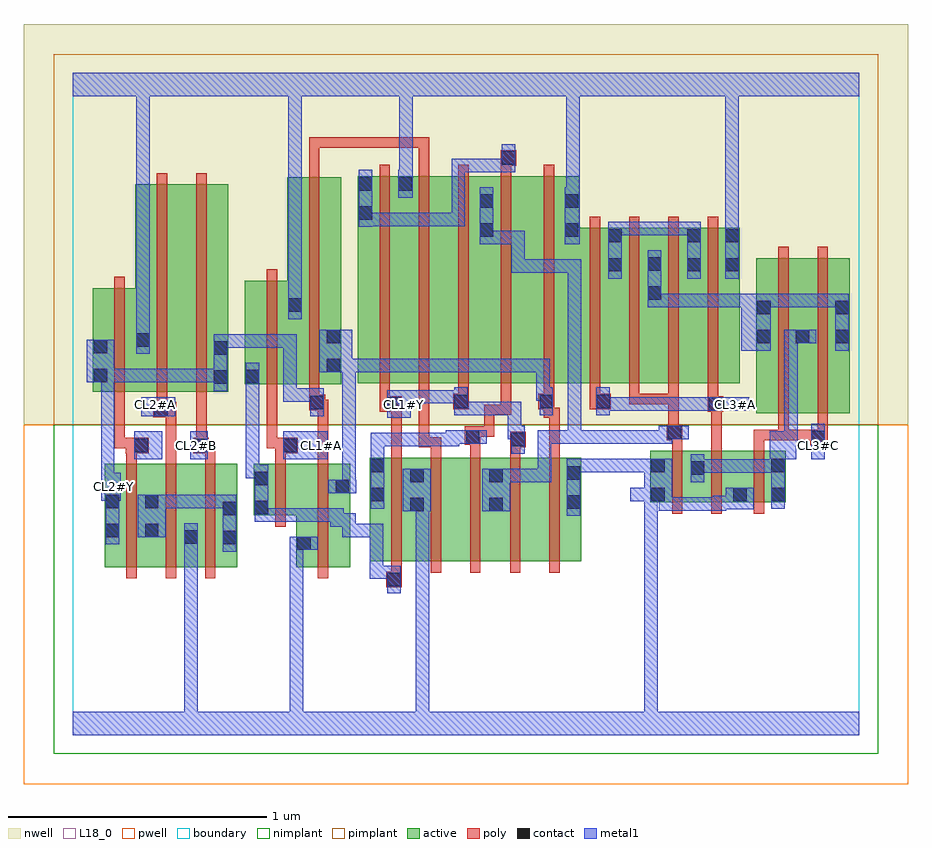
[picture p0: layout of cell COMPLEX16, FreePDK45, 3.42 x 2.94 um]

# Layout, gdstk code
import gdstk
lib = gdstk.Library(unit=1e-6, precision=1e-09)
def R(c, l, rs):  # rectangles x0, y0, x1, y1
    for r in rs: c.add(gdstk.rectangle(r[:2], r[2:], *l))
def A(c, l, x, y, w, h, nx, ny, dx, dy):  # array of equal rectangles
    R(c, l, [(x+i*dx, y+j*dy, x+i*dx+w, y+j*dy+h) for i in range(nx) for j in range(ny)])
active = (1, 0)
pwell = (2, 0)
nwell = (3, 0)
nimplant = (4, 0)
pimplant = (5, 0)
poly = (9, 0)
contact = (10, 0)
metal1 = (11, 0)
L18_0 = (18, 0)
boundary = (235, 0)

complex16 = lib.new_cell('COMPLEX16')
R(complex16, active, [(0.124,0.65,0.336,1.05), (0.276,0.65,0.488,1.05), (0.428,0.65,0.636,1.05), (0.428,0.65,0.488,0.796), (0.864,0.65,1.072,1.05), (1.148,0.672,1.208,1.072), (1.148,0.672,1.36,1.072), (1.3,0.672,1.36,1.072), (1.3,0.672,1.48,1.072), (1.48,0.672,1.666,1.072), (1.606,0.672,1.786,1.072), (1.786,0.672,1.966,1.072), (1.906,0.672,1.966,1.072), (0.864,0.712,0.924,0.956), (0.576,0.734,0.636,1.05), (0.124,0.756,0.184,1.05), (0.276,0.756,0.336,1.05), (1.012,0.756,1.072,1.05), (1.606,0.756,1.666,1.034), (0.7,0.85,0.76,1.05), (0.7,0.85,0.924,1.05), (2.232,0.9,2.292,1.1), (2.232,0.9,2.444,1.1), (2.384,0.9,2.608,1.1), (2.548,0.9,2.608,1.1), (2.548,0.9,2.756,1.1), (2.696,0.9,2.756,1.1), (2.384,0.956,2.444,1.062), (2.642,1.244,2.702,1.844), (2.642,1.244,2.85,1.844), (2.79,1.244,3.002,1.844), (2.942,1.244,3.002,1.844), (0.078,1.328,0.138,1.728), (0.078,1.328,0.302,1.728), (0.242,1.328,0.422,2.128), (0.422,1.328,0.602,2.128), (0.542,1.328,0.602,2.044), (0.666,1.356,0.726,1.756), (0.666,1.356,0.89,1.756), (0.83,1.356,0.89,2.156), (0.83,1.356,1.038,2.156), (0.978,1.356,1.038,2.044), (1.102,1.36,1.314,2.16), (1.102,1.36,1.162,2.16), (1.254,1.36,1.434,2.16), (1.434,1.36,1.63,2.16), (1.57,1.36,1.764,2.16), (1.764,1.36,1.958,2.16), (1.898,1.36,2.126,1.96), (2.066,1.36,2.126,1.96), (2.066,1.36,2.278,1.96), (2.218,1.36,2.43,1.96), (2.218,1.36,2.278,1.854), (2.37,1.36,2.578,1.96), (2.518,1.36,2.578,1.96), (1.57,1.392,1.63,2.122), (1.898,1.472,1.958,2.16), (2.37,1.472,2.43,1.96), (0.242,1.498,0.302,2.128), (2.79,1.51,2.85,1.844), (1.254,1.586,1.314,2.16)])
R(complex16, pwell, [(-0.188,-0.188,3.228,1.2)])
R(complex16, nwell, [(-0.188,1.2,3.228,2.748)])
R(complex16, nimplant, [(-0.072,-0.072,3.112,1.2)])
R(complex16, pimplant, [(-0.072,1.2,3.112,2.632)])
A(complex16, poly, 0.208, 0.606, 0.04, 0.488, 3, 1, 0.152, 0)
A(complex16, poly, 1.232, 0.628, 0.04, 0.488, 3, 1, 0.152, 0)
A(complex16, poly, 1.998, 1.28, 0.04, 0.076, 3, 1, 0.152, 0)
A(complex16, poly, 1.186, 1.316, 0.04, 0.888, 3, 1, 0.152, 0)
A(complex16, poly, 1.998, 1.316, 0.04, 0.688, 4, 1, 0.152, 0)
R(complex16, poly, [(1.212,0.572,1.272,0.632), (1.232,0.592,1.272,0.668), (0.948,0.606,0.988,1.094), (1.69,0.628,1.73,1.116), (1.842,0.628,1.882,1.116), (0.784,0.806,0.824,1.094), (2.316,0.856,2.356,1.144), (2.468,0.856,2.508,1.144), (2.632,0.856,2.672,1.144), (0.208,1.054,0.248,1.13), (0.36,1.054,0.4,1.268), (0.512,1.054,0.552,1.13), (0.784,1.054,0.824,1.13), (0.948,1.054,0.988,1.296), (1.232,1.076,1.272,1.29), (1.384,1.076,1.424,1.152), (1.536,1.076,1.576,1.162), (1.69,1.076,1.73,1.152), (1.842,1.076,1.882,1.266), (0.206,1.09,0.294,1.15), (0.466,1.09,0.526,1.15), (0.486,1.09,0.526,1.13), (0.486,1.09,0.552,1.13), (0.784,1.09,0.87,1.15), (2.316,1.104,2.356,1.18), (2.468,1.104,2.508,1.29), (2.632,1.104,2.672,1.18), (0.162,1.11,0.202,1.324), (0.162,1.11,0.246,1.15), (0.206,1.11,0.246,1.15), (0.478,1.11,0.518,1.324), (0.75,1.11,0.79,1.352), (0.75,1.11,0.824,1.15), (0.784,1.11,0.824,1.15), (1.338,1.112,1.378,1.152), (1.338,1.112,1.378,1.152), (1.338,1.112,1.378,1.356), (1.338,1.112,1.424,1.152), (1.69,1.112,1.75,1.172), (2.85,1.12,2.918,1.18), (1.516,1.122,1.576,1.194), (2.296,1.14,2.356,1.2), (2.632,1.14,2.766,1.18), (2.726,1.14,2.766,1.24), (2.726,1.14,2.89,1.18), (2.726,1.14,2.766,1.18), (2.726,1.14,2.766,1.18), (2.726,1.14,2.766,1.18), (2.726,1.14,2.766,1.18), (2.878,1.14,2.918,1.24), (1.536,1.154,1.63,1.194), (1.59,1.154,1.63,1.194), (1.59,1.154,1.63,1.278), (2.302,1.16,2.342,1.32), (2.726,1.2,2.766,1.888), (2.878,1.2,2.918,1.888), (1.82,1.226,1.86,1.3), (1.82,1.226,1.882,1.266), (0.312,1.228,0.4,1.288), (0.36,1.228,0.4,1.268), (0.36,1.228,0.4,1.268), (1.59,1.238,1.63,1.278), (1.59,1.238,1.694,1.278), (1.654,1.238,1.694,1.278), (1.654,1.238,1.694,1.356), (0.326,1.248,0.366,1.324), (1.186,1.25,1.272,1.31), (1.232,1.25,1.272,1.29), (1.232,1.25,1.272,1.29), (2.454,1.25,2.514,1.31), (2.468,1.25,2.508,1.29), (2.468,1.25,2.508,1.29), (0.914,1.256,0.976,1.316), (0.936,1.256,0.976,1.296), (0.936,1.256,0.988,1.296), (1.47,1.26,1.53,1.32), (1.8,1.26,1.86,1.32), (1.998,1.26,2.08,1.32), (1.186,1.27,1.226,1.356), (2.454,1.27,2.494,1.356), (0.914,1.276,0.954,1.352), (1.49,1.28,1.53,1.356), (1.82,1.28,1.86,1.356), (2.15,1.28,2.19,1.32), (2.15,1.28,2.342,1.32), (2.302,1.28,2.342,1.32), (2.302,1.28,2.342,1.32), (2.302,1.28,2.342,1.32), (0.162,1.284,0.202,1.772), (0.326,1.284,0.366,2.172), (0.478,1.284,0.518,2.172), (0.75,1.312,0.79,1.8), (0.914,1.312,0.954,2.2), (1.654,1.316,1.694,2.204), (1.82,1.316,1.86,2.204), (0.914,2.16,0.954,2.31), (1.338,2.164,1.378,2.31), (1.654,2.164,1.694,2.24), (1.654,2.2,1.714,2.26), (0.914,2.27,0.954,2.31), (0.914,2.27,1.12,2.31), (1.08,2.27,1.12,2.31), (1.08,2.27,1.12,2.31), (1.08,2.27,1.12,2.31), (1.08,2.27,1.272,2.31), (1.232,2.27,1.272,2.31), (1.232,2.27,1.272,2.31), (1.232,2.27,1.272,2.31), (1.232,2.27,1.378,2.31), (1.338,2.27,1.378,2.31)])
R(complex16, contact, [(1.216,0.576,1.268,0.628), (0.868,0.716,0.92,0.768), (0.58,0.738,0.632,0.79), (0.432,0.74,0.484,0.792), (0.128,0.766,0.18,0.818), (0.28,0.766,0.332,0.818), (0.58,0.85,0.632,0.902), (0.704,0.854,0.756,0.906), (1.304,0.866,1.356,0.918), (1.61,0.866,1.662,0.918), (1.91,0.876,1.962,0.928), (0.128,0.878,0.18,0.93), (0.28,0.878,0.332,0.93), (1.152,0.904,1.204,0.956), (2.236,0.904,2.288,0.956), (2.552,0.904,2.604,0.956), (2.7,0.904,2.752,0.956), (1.016,0.936,1.068,0.988), (0.704,0.966,0.756,1.018), (1.304,0.978,1.356,1.03), (1.61,0.978,1.662,1.03), (1.91,0.988,1.962,1.04), (2.388,1.006,2.44,1.058), (1.152,1.016,1.204,1.068), (2.236,1.016,2.288,1.068), (2.7,1.016,2.752,1.068), (0.238,1.094,0.29,1.146), (0.47,1.094,0.522,1.146), (0.814,1.094,0.866,1.146), (1.694,1.116,1.746,1.168), (2.854,1.124,2.906,1.176), (1.52,1.126,1.572,1.178), (2.3,1.144,2.352,1.196), (0.316,1.232,0.368,1.284), (1.216,1.254,1.268,1.306), (2.458,1.254,2.51,1.306), (0.918,1.26,0.97,1.312), (1.474,1.264,1.526,1.316), (1.804,1.264,1.856,1.316), (2.024,1.264,2.076,1.316), (0.546,1.358,0.598,1.41), (0.67,1.36,0.722,1.412), (0.082,1.364,0.134,1.416), (0.982,1.402,1.034,1.454), (0.546,1.47,0.598,1.522), (0.082,1.476,0.134,1.528), (0.246,1.502,0.298,1.554), (0.982,1.514,1.034,1.566), (2.646,1.514,2.698,1.566), (2.794,1.514,2.846,1.566), (2.946,1.514,2.998,1.566), (2.646,1.626,2.698,1.678), (2.946,1.626,2.998,1.678), (0.834,1.636,0.886,1.688), (2.222,1.682,2.274,1.734), (2.07,1.792,2.122,1.844), (2.374,1.792,2.426,1.844), (2.522,1.792,2.574,1.844), (2.222,1.794,2.274,1.846), (2.07,1.904,2.122,1.956), (2.374,1.904,2.426,1.956), (2.522,1.904,2.574,1.956), (1.574,1.926,1.626,1.978), (1.902,1.926,1.954,1.978), (1.106,1.992,1.158,2.044), (1.574,2.038,1.626,2.09), (1.902,2.038,1.954,2.09), (1.106,2.104,1.158,2.156), (1.258,2.104,1.31,2.156), (1.658,2.204,1.71,2.256)])
R(complex16, metal1, [(0,0,3.04,0.092), (0.432,0.04,0.484,0.092), (0.432,0.04,0.484,0.092), (0.432,0.04,0.484,0.764), (0.84,0.04,0.892,0.092), (0.84,0.04,0.892,0.092), (0.84,0.04,0.892,0.092), (0.84,0.04,0.892,0.092), (0.84,0.04,0.892,0.092), (0.84,0.04,0.892,0.092), (0.84,0.04,0.892,0.092), (0.84,0.04,0.892,0.092), (0.84,0.04,0.892,0.092), (0.84,0.04,0.892,0.092), (0.84,0.04,0.892,0.092), (0.84,0.04,0.892,0.092), (0.84,0.04,0.892,0.768), (1.326,0.04,1.378,0.092), (1.326,0.04,1.378,0.092), (1.326,0.04,1.378,0.092), (1.326,0.04,1.378,0.092), (1.326,0.04,1.378,0.092), (1.326,0.04,1.378,0.092), (1.326,0.04,1.378,0.092), (1.326,0.04,1.378,0.092), (1.326,0.04,1.378,0.092), (1.326,0.04,1.378,0.092), (1.326,0.04,1.378,0.092), (1.326,0.04,1.378,0.092), (1.326,0.04,1.378,0.918), (2.208,0.04,2.26,0.092), (2.208,0.04,2.26,0.092), (2.208,0.04,2.26,0.092), (2.208,0.04,2.26,0.092), (2.208,0.04,2.26,0.956), (1.216,0.548,1.268,0.656), (1.148,0.604,1.2,0.656), (1.148,0.604,1.2,0.656), (1.148,0.604,1.2,0.656), (1.148,0.604,1.268,0.656), (1.148,0.604,1.2,0.818), (0.58,0.71,0.632,0.93), (0.432,0.712,0.484,0.764), (0.432,0.712,0.484,0.764), (0.432,0.712,0.484,0.764), (0.432,0.712,0.484,0.764), (0.432,0.712,0.484,0.764), (0.432,0.712,0.484,0.764), (0.432,0.712,0.484,0.764), (0.432,0.712,0.484,0.764), (0.432,0.712,0.484,0.764), (0.432,0.712,0.484,0.764), (0.432,0.712,0.484,0.82), (0.84,0.716,0.948,0.768), (0.128,0.738,0.18,0.958), (0.252,0.766,0.36,0.93), (1.042,0.766,1.2,0.818), (1.042,0.766,1.094,0.858), (1.148,0.766,1.2,0.818), (0.996,0.806,1.094,0.858), (0.996,0.806,1.048,0.878), (0.704,0.826,0.756,0.878), (0.704,0.826,0.756,0.878), (0.704,0.826,0.756,1.046), (0.704,0.826,0.896,0.878), (0.844,0.826,0.896,0.878), (0.844,0.826,0.896,0.878), (0.844,0.826,0.896,0.878), (0.844,0.826,0.896,0.878), (0.844,0.826,0.896,0.878), (0.844,0.826,1.048,0.878), (1.91,0.848,1.962,1.068), (1.276,0.866,1.384,1.03), (1.582,0.866,1.69,1.03), (2.264,0.868,2.426,0.92), (2.264,0.868,2.316,0.956), (2.374,0.868,2.426,0.92), (2.374,0.868,2.526,0.92), (2.474,0.868,2.526,0.926), (2.474,0.874,2.576,0.926), (2.524,0.874,2.632,0.956), (1.152,0.876,1.204,1.096), (2.7,0.876,2.752,1.096), (0.308,0.878,0.36,0.93), (0.308,0.878,0.36,0.93), (0.308,0.878,0.488,0.93), (0.436,0.878,0.488,0.93), (0.436,0.878,0.488,0.93), (0.436,0.878,0.488,0.93), (0.436,0.878,0.632,0.93), (2.154,0.904,2.206,0.956), (2.154,0.904,2.26,0.956), (2.208,0.904,2.26,0.956), (2.208,0.904,2.26,0.956), (2.208,0.904,2.26,0.956), (2.208,0.904,2.26,0.956), (2.208,0.904,2.26,0.956), (2.208,0.904,2.26,0.956), (2.208,0.904,2.26,0.956), (2.208,0.904,2.26,0.956), (2.208,0.904,2.26,0.956), (2.208,0.904,2.26,0.956), (2.208,0.904,2.26,0.956), (2.208,0.904,2.26,0.956), (2.208,0.904,2.316,1.068), (2.264,0.904,2.316,0.956), (0.11,0.906,0.186,1.014), (0.128,0.906,0.18,0.958), (0.988,0.936,1.096,0.988), (1.042,0.936,1.094,1.454), (0.11,0.962,0.162,1.014), (0.11,0.962,0.162,1.014), (0.11,0.962,0.162,1.416), (1.638,0.978,1.71,1.03), (1.658,0.978,1.71,1.03), (1.658,0.978,1.85,1.03), (1.798,0.978,1.85,1.03), (1.798,0.978,1.85,1.178), (2.388,0.978,2.44,1.086), (0.67,0.994,0.722,1.046), (0.67,0.994,0.722,1.046), (0.67,0.994,0.722,1.384), (0.67,0.994,0.756,1.046), (0.704,0.994,0.756,1.046), (2.388,1.014,2.44,1.066), (2.388,1.014,2.44,1.066), (2.388,1.014,2.612,1.066), (2.56,1.014,2.612,1.066), (2.56,1.014,2.636,1.066), (2.584,1.014,2.636,1.066), (2.584,1.014,2.752,1.066), (2.7,1.014,2.752,1.066), (2.7,1.014,2.752,1.066), (1.91,1.016,2.076,1.068), (2.024,1.016,2.076,1.068), (2.024,1.016,2.076,1.068), (2.024,1.016,2.076,1.068), (2.024,1.016,2.206,1.068), (2.154,1.016,2.206,1.068), (2.154,1.016,2.26,1.068), (2.208,1.016,2.26,1.068), (2.208,1.016,2.26,1.068), (1.152,1.044,1.204,1.168), (2.7,1.044,2.752,1.118), (0.238,1.066,0.346,1.174), (0.454,1.066,0.522,1.174), (0.814,1.066,0.986,1.174), (2.694,1.066,2.796,1.174), (2.854,1.066,2.906,1.204), (1.694,1.088,1.746,1.196), (1.152,1.116,1.204,1.168), (1.152,1.116,1.306,1.168), (1.254,1.116,1.306,1.168), (1.254,1.116,1.314,1.168), (1.262,1.116,1.314,1.168), (1.262,1.116,1.416,1.168), (1.364,1.116,1.416,1.168), (1.364,1.116,1.494,1.168), (1.442,1.116,1.494,1.178), (2.744,1.122,2.796,1.174), (2.744,1.122,2.802,1.174), (2.75,1.122,2.802,1.566), (1.442,1.126,1.544,1.178), (1.492,1.126,1.6,1.178), (1.798,1.126,1.85,1.178), (1.798,1.126,1.966,1.178), (1.914,1.126,1.966,1.178), (1.914,1.126,1.966,1.178), (1.914,1.126,1.966,1.178), (1.914,1.126,1.966,1.178), (1.914,1.126,1.966,1.178), (1.914,1.126,2.096,1.178), (1.914,1.126,1.966,1.84), (2.044,1.126,2.096,1.178), (2.044,1.126,2.096,1.178), (2.044,1.126,2.096,1.178), (2.044,1.126,2.206,1.178), (2.154,1.126,2.206,1.178), (2.154,1.126,2.316,1.178), (2.264,1.126,2.316,1.196), (1.682,1.144,1.734,1.196), (1.682,1.144,1.746,1.196), (1.682,1.144,1.734,1.288), (2.264,1.144,2.324,1.196), (2.272,1.144,2.38,1.196), (1.216,1.226,1.306,1.334), (0.266,1.232,0.396,1.306), (0.918,1.232,0.97,1.34), (1.474,1.236,1.526,1.344), (1.474,1.236,1.734,1.288), (1.682,1.236,1.734,1.288), (1.804,1.236,1.856,1.344), (2.024,1.236,2.076,1.344), (2.024,1.254,2.076,1.306), (2.024,1.254,2.076,1.306), (2.024,1.254,2.206,1.306), (2.154,1.254,2.206,1.306), (2.154,1.254,2.316,1.306), (2.264,1.254,2.316,1.306), (2.264,1.254,2.316,1.306), (2.264,1.254,2.316,1.306), (2.264,1.254,2.464,1.306), (2.412,1.254,2.464,1.306), (2.412,1.254,2.482,1.306), (2.43,1.254,2.614,1.306), (1.254,1.282,1.314,1.334), (1.262,1.282,1.314,1.334), (1.262,1.282,1.416,1.334), (1.364,1.282,1.416,1.334), (1.364,1.282,1.486,1.334), (1.434,1.282,1.486,1.334), (1.434,1.282,1.526,1.334), (0.814,1.288,0.866,1.34), (0.814,1.288,0.866,1.55), (0.814,1.288,0.97,1.34), (1.792,1.292,1.844,1.344), (1.792,1.292,1.856,1.344), (1.792,1.292,1.844,1.454), (0.546,1.33,0.598,1.55), (0.67,1.332,0.722,1.44), (0.054,1.364,0.162,1.528), (0.11,1.364,0.162,1.416), (0.11,1.364,0.162,1.416), (0.11,1.364,0.374,1.416), (0.322,1.364,0.374,1.416), (0.322,1.364,0.374,1.416), (0.322,1.364,0.374,1.416), (0.322,1.364,0.488,1.416), (0.436,1.364,0.488,1.416), (0.436,1.364,0.488,1.416), (0.436,1.364,0.488,1.416), (0.436,1.364,0.598,1.416), (0.954,1.402,1.08,1.566), (1.028,1.402,1.08,1.454), (1.028,1.402,1.158,1.454), (1.028,1.402,1.094,1.454), (1.042,1.402,1.094,1.454), (1.042,1.402,1.094,1.454), (1.106,1.402,1.158,1.454), (1.106,1.402,1.268,1.454), (1.216,1.402,1.268,1.454), (1.216,1.402,1.314,1.454), (1.262,1.402,1.314,1.454), (1.262,1.402,1.416,1.454), (1.364,1.402,1.416,1.454), (1.364,1.402,1.424,1.454), (1.372,1.402,1.424,1.454), (1.372,1.402,1.526,1.454), (1.474,1.402,1.526,1.454), (1.474,1.402,1.71,1.454), (1.658,1.402,1.71,1.454), (1.658,1.402,1.71,1.454), (1.658,1.402,1.71,1.454), (1.658,1.402,1.844,1.454), (1.792,1.402,1.844,1.454), (0.246,1.474,0.298,1.582), (2.584,1.486,2.698,1.706), (2.946,1.486,2.998,1.706), (0.546,1.498,0.598,1.55), (0.546,1.498,0.598,1.55), (0.546,1.498,0.598,1.55), (0.546,1.498,0.598,1.55), (0.546,1.498,0.86,1.55), (0.808,1.498,0.86,1.55), (0.808,1.498,0.866,1.55), (0.814,1.498,0.866,1.55), (0.814,1.498,0.866,1.55), (0.814,1.498,0.866,1.55), (2.75,1.514,2.874,1.566), (0.246,1.53,0.298,1.582), (0.246,1.53,0.298,1.582), (0.246,1.53,0.298,1.582), (0.246,1.53,0.298,1.582), (0.246,1.53,0.298,2.52), (0.834,1.608,0.886,1.716), (2.222,1.654,2.274,1.874), (2.222,1.654,2.316,1.706), (2.264,1.654,2.316,1.706), (2.264,1.654,2.428,1.706), (2.376,1.654,2.428,1.706), (2.376,1.654,2.428,1.706), (2.376,1.654,2.428,1.706), (2.376,1.654,2.612,1.706), (2.56,1.654,2.612,1.706), (2.56,1.654,2.636,1.706), (2.584,1.654,2.636,1.706), (2.584,1.654,2.636,1.706), (2.584,1.654,2.722,1.706), (2.67,1.654,2.722,1.706), (2.67,1.654,2.888,1.706), (2.836,1.654,2.888,1.706), (2.836,1.654,2.998,1.706), (2.946,1.654,2.998,1.706), (2.946,1.654,2.998,1.706), (0.834,1.664,0.886,1.716), (0.834,1.664,0.886,1.716), (0.834,1.664,0.886,1.716), (0.834,1.664,0.886,1.716), (0.834,1.664,0.886,1.716), (0.834,1.664,0.886,1.716), (0.834,1.664,0.886,2.52), (2.07,1.764,2.122,1.984), (2.374,1.764,2.426,1.984), (2.522,1.764,2.574,1.984), (1.694,1.788,1.844,1.84), (1.694,1.788,1.746,1.95), (1.792,1.788,1.844,1.84), (1.792,1.788,1.966,1.84), (1.914,1.788,1.966,1.84), (1.914,1.788,1.966,1.84), (1.914,1.788,1.966,1.84), (1.914,1.788,1.966,1.84), (1.914,1.788,1.966,1.84), (1.574,1.898,1.626,2.118), (1.574,1.898,1.746,1.95), (1.902,1.898,1.96,2.118), (2.07,1.932,2.206,1.984), (2.154,1.932,2.206,1.984), (2.154,1.932,2.26,1.984), (2.208,1.932,2.26,1.984), (2.208,1.932,2.318,1.984), (2.266,1.932,2.318,1.984), (2.266,1.932,2.426,1.984), (2.522,1.932,2.574,2.52), (1.106,1.964,1.158,2.184), (1.106,1.966,1.206,2.018), (1.154,1.966,1.206,2.018), (1.154,1.966,1.314,2.018), (1.262,1.966,1.314,2.018), (1.262,1.966,1.416,2.018), (1.364,1.966,1.416,2.018), (1.364,1.966,1.516,2.018), (1.464,1.966,1.516,2.018), (1.464,1.966,1.516,2.228), (1.908,2.066,1.96,2.118), (1.908,2.066,1.96,2.118), (1.908,2.066,1.96,2.52), (1.258,2.076,1.314,2.184), (1.262,2.132,1.314,2.52), (1.464,2.176,1.516,2.228), (1.464,2.176,1.6,2.228), (1.548,2.176,1.6,2.228), (1.548,2.176,1.71,2.228), (1.658,2.176,1.71,2.228), (1.658,2.176,1.71,2.228), (1.658,2.176,1.71,2.228), (1.658,2.176,1.71,2.228), (1.658,2.176,1.71,2.284), (0,2.468,3.04,2.56), (0.246,2.468,0.298,2.52), (0.246,2.468,0.298,2.52), (0.246,2.468,0.298,2.52), (0.246,2.468,0.298,2.52), (0.834,2.468,0.886,2.52), (0.834,2.468,0.886,2.52), (1.262,2.468,1.314,2.52), (1.262,2.468,1.314,2.52), (1.262,2.468,1.314,2.52), (1.262,2.468,1.314,2.52), (1.262,2.468,1.314,2.52), (1.262,2.468,1.314,2.52), (1.262,2.468,1.314,2.52), (1.262,2.468,1.314,2.52), (1.908,2.468,1.96,2.52), (1.908,2.468,1.96,2.52), (1.908,2.468,1.96,2.52), (1.908,2.468,1.96,2.52), (1.908,2.468,1.96,2.52), (1.908,2.468,1.96,2.52), (2.522,2.468,2.574,2.52), (2.522,2.468,2.574,2.52), (2.522,2.468,2.574,2.52), (2.522,2.468,2.574,2.52), (2.522,2.468,2.574,2.52), (2.522,2.468,2.574,2.52), (2.522,2.468,2.574,2.52), (2.522,2.468,2.574,2.52), (2.522,2.468,2.574,2.52), (2.522,2.468,2.574,2.52), (2.522,2.468,2.574,2.52), (2.522,2.468,2.574,2.52)])
R(complex16, L18_0, [(0,0,3.04,0.092), (0.432,0.04,0.484,0.092), (0.432,0.04,0.484,0.092), (0.432,0.04,0.484,0.764), (0.84,0.04,0.892,0.092), (0.84,0.04,0.892,0.092), (0.84,0.04,0.892,0.092), (0.84,0.04,0.892,0.092), (0.84,0.04,0.892,0.092), (0.84,0.04,0.892,0.092), (0.84,0.04,0.892,0.092), (0.84,0.04,0.892,0.092), (0.84,0.04,0.892,0.092), (0.84,0.04,0.892,0.092), (0.84,0.04,0.892,0.092), (0.84,0.04,0.892,0.092), (0.84,0.04,0.892,0.768), (1.326,0.04,1.378,0.092), (1.326,0.04,1.378,0.092), (1.326,0.04,1.378,0.092), (1.326,0.04,1.378,0.092), (1.326,0.04,1.378,0.092), (1.326,0.04,1.378,0.092), (1.326,0.04,1.378,0.092), (1.326,0.04,1.378,0.092), (1.326,0.04,1.378,0.092), (1.326,0.04,1.378,0.092), (1.326,0.04,1.378,0.092), (1.326,0.04,1.378,0.092), (1.326,0.04,1.378,0.918), (2.208,0.04,2.26,0.092), (2.208,0.04,2.26,0.092), (2.208,0.04,2.26,0.092), (2.208,0.04,2.26,0.092), (2.208,0.04,2.26,0.956), (1.216,0.548,1.268,0.656), (1.148,0.604,1.2,0.656), (1.148,0.604,1.2,0.656), (1.148,0.604,1.2,0.656), (1.148,0.604,1.2,0.818), (1.148,0.604,1.268,0.656), (0.432,0.712,0.484,0.764), (0.432,0.712,0.484,0.764), (0.432,0.712,0.484,0.764), (0.432,0.712,0.484,0.764), (0.432,0.712,0.484,0.764), (0.432,0.712,0.484,0.764), (0.432,0.712,0.484,0.764), (0.432,0.712,0.484,0.764), (0.432,0.712,0.484,0.764), (0.432,0.712,0.484,0.764), (0.432,0.712,0.484,0.82), (0.84,0.716,0.948,0.768), (0.128,0.738,0.18,0.958), (1.042,0.766,1.094,0.858), (1.042,0.766,1.2,0.818), (1.148,0.766,1.2,0.818), (0.996,0.806,1.048,0.878), (0.996,0.806,1.094,0.858), (0.704,0.826,0.756,1.046), (0.704,0.826,0.756,0.878), (0.704,0.826,0.756,0.878), (0.704,0.826,0.896,0.878), (0.844,0.826,0.896,0.878), (0.844,0.826,0.896,0.878), (0.844,0.826,0.896,0.878), (0.844,0.826,0.896,0.878), (0.844,0.826,0.896,0.878), (0.844,0.826,1.048,0.878), (1.91,0.848,1.962,1.068), (1.276,0.866,1.384,1.03), (2.264,0.868,2.426,0.92), (2.264,0.868,2.316,0.956), (2.374,0.868,2.426,0.92), (2.374,0.868,2.526,0.92), (2.474,0.868,2.526,0.926), (2.474,0.874,2.576,0.926), (2.524,0.874,2.632,0.956), (2.7,0.876,2.752,1.096), (2.154,0.904,2.206,0.956), (2.154,0.904,2.26,0.956), (2.208,0.904,2.26,0.956), (2.208,0.904,2.26,0.956), (2.208,0.904,2.26,0.956), (2.208,0.904,2.26,0.956), (2.208,0.904,2.26,0.956), (2.208,0.904,2.26,0.956), (2.208,0.904,2.26,0.956), (2.208,0.904,2.26,0.956), (2.208,0.904,2.26,0.956), (2.208,0.904,2.26,0.956), (2.208,0.904,2.26,0.956), (2.208,0.904,2.26,0.956), (2.208,0.904,2.316,1.068), (2.264,0.904,2.316,0.956), (0.11,0.906,0.186,1.014), (0.128,0.906,0.18,0.958), (0.134,0.934,0.186,0.986), (0.11,0.962,0.162,1.014), (0.11,0.962,0.162,1.014), (0.11,0.962,0.162,1.416), (2.388,0.978,2.44,1.086), (0.67,0.994,0.722,1.046), (0.67,0.994,0.722,1.046), (0.67,0.994,0.756,1.046), (0.67,0.994,0.722,1.384), (0.704,0.994,0.756,1.046), (2.388,1.014,2.44,1.066), (2.388,1.014,2.44,1.066), (2.388,1.014,2.612,1.066), (2.56,1.014,2.612,1.066), (2.56,1.014,2.636,1.066), (2.584,1.014,2.636,1.066), (2.584,1.014,2.752,1.066), (2.7,1.014,2.752,1.066), (2.7,1.014,2.752,1.066), (1.91,1.016,2.076,1.068), (2.024,1.016,2.076,1.068), (2.024,1.016,2.076,1.068), (2.024,1.016,2.076,1.068), (2.024,1.016,2.206,1.068), (2.154,1.016,2.206,1.068), (2.154,1.016,2.26,1.068), (2.208,1.016,2.26,1.068), (2.208,1.016,2.26,1.068), (2.7,1.044,2.752,1.118), (0.238,1.066,0.346,1.174), (0.454,1.066,0.522,1.174), (0.814,1.066,0.986,1.174), (2.694,1.066,2.796,1.174), (2.854,1.066,2.906,1.204), (1.694,1.088,1.746,1.196), (0.294,1.094,0.346,1.146), (0.454,1.094,0.506,1.146), (0.934,1.094,0.986,1.146), (2.694,1.094,2.746,1.146), (2.854,1.094,2.906,1.146), (2.744,1.122,2.796,1.174), (2.744,1.122,2.802,1.174), (2.75,1.122,2.802,1.566), (1.682,1.144,1.734,1.196), (1.682,1.144,1.734,1.288), (1.682,1.144,1.746,1.196), (1.216,1.226,1.306,1.334), (0.266,1.232,0.396,1.306), (0.918,1.232,0.97,1.34), (1.474,1.236,1.526,1.344), (1.474,1.236,1.734,1.288), (1.682,1.236,1.734,1.288), (2.024,1.236,2.076,1.344), (0.294,1.254,0.346,1.306), (1.254,1.254,1.306,1.306), (2.024,1.254,2.076,1.306), (2.024,1.254,2.076,1.306), (2.024,1.254,2.206,1.306), (2.154,1.254,2.206,1.306), (2.154,1.254,2.316,1.306), (2.264,1.254,2.316,1.306), (2.264,1.254,2.316,1.306), (2.264,1.254,2.316,1.306), (2.264,1.254,2.464,1.306), (2.412,1.254,2.464,1.306), (2.412,1.254,2.482,1.306), (2.43,1.254,2.614,1.306), (2.534,1.254,2.586,1.306), (1.254,1.282,1.314,1.334), (1.262,1.282,1.314,1.334), (1.262,1.282,1.416,1.334), (1.364,1.282,1.416,1.334), (1.364,1.282,1.486,1.334), (1.434,1.282,1.486,1.334), (1.434,1.282,1.526,1.334), (0.814,1.288,0.866,1.34), (0.814,1.288,0.866,1.55), (0.814,1.288,0.97,1.34), (0.546,1.33,0.598,1.55), (0.67,1.332,0.722,1.44), (0.054,1.364,0.162,1.528), (0.11,1.364,0.162,1.416), (0.11,1.364,0.162,1.416), (0.11,1.364,0.374,1.416), (0.322,1.364,0.374,1.416), (0.322,1.364,0.374,1.416), (0.322,1.364,0.374,1.416), (0.322,1.364,0.488,1.416), (0.436,1.364,0.488,1.416), (0.436,1.364,0.488,1.416), (0.436,1.364,0.488,1.416), (0.436,1.364,0.598,1.416), (0.246,1.474,0.298,1.582), (0.546,1.498,0.598,1.55), (0.546,1.498,0.598,1.55), (0.546,1.498,0.598,1.55), (0.546,1.498,0.598,1.55), (0.546,1.498,0.86,1.55), (0.808,1.498,0.86,1.55), (0.808,1.498,0.866,1.55), (0.814,1.498,0.866,1.55), (0.814,1.498,0.866,1.55), (0.814,1.498,0.866,1.55), (2.75,1.514,2.874,1.566), (0.246,1.53,0.298,1.582), (0.246,1.53,0.298,1.582), (0.246,1.53,0.298,1.582), (0.246,1.53,0.298,1.582), (0.246,1.53,0.298,2.52), (0.834,1.608,0.886,1.716), (0.834,1.664,0.886,1.716), (0.834,1.664,0.886,1.716), (0.834,1.664,0.886,1.716), (0.834,1.664,0.886,1.716), (0.834,1.664,0.886,1.716), (0.834,1.664,0.886,1.716), (0.834,1.664,0.886,2.52), (2.522,1.764,2.574,1.984), (1.902,1.898,1.96,2.118), (2.522,1.932,2.574,2.52), (1.908,2.066,1.96,2.118), (1.908,2.066,1.96,2.118), (1.908,2.066,1.96,2.52), (1.258,2.076,1.314,2.184), (1.262,2.132,1.314,2.52), (0,2.468,3.04,2.56), (0.246,2.468,0.298,2.52), (0.246,2.468,0.298,2.52), (0.246,2.468,0.298,2.52), (0.246,2.468,0.298,2.52), (0.834,2.468,0.886,2.52), (0.834,2.468,0.886,2.52), (1.262,2.468,1.314,2.52), (1.262,2.468,1.314,2.52), (1.262,2.468,1.314,2.52), (1.262,2.468,1.314,2.52), (1.262,2.468,1.314,2.52), (1.262,2.468,1.314,2.52), (1.262,2.468,1.314,2.52), (1.262,2.468,1.314,2.52), (1.908,2.468,1.96,2.52), (1.908,2.468,1.96,2.52), (1.908,2.468,1.96,2.52), (1.908,2.468,1.96,2.52), (1.908,2.468,1.96,2.52), (1.908,2.468,1.96,2.52), (2.522,2.468,2.574,2.52), (2.522,2.468,2.574,2.52), (2.522,2.468,2.574,2.52), (2.522,2.468,2.574,2.52), (2.522,2.468,2.574,2.52), (2.522,2.468,2.574,2.52), (2.522,2.468,2.574,2.52), (2.522,2.468,2.574,2.52), (2.522,2.468,2.574,2.52), (2.522,2.468,2.574,2.52), (2.522,2.468,2.574,2.52), (2.522,2.468,2.574,2.52)])
R(complex16, boundary, [(0,0,3.04,2.56)])
complex16.add(gdstk.Label('CL1#A', (0.96,1.12), layer=11, texttype=0))
complex16.add(gdstk.Label('CL1#Y', (1.28,1.28), layer=11, texttype=0))
complex16.add(gdstk.Label('CL2#A', (0.32,1.28), layer=11, texttype=0))
complex16.add(gdstk.Label('CL2#B', (0.48,1.12), layer=11, texttype=0))
complex16.add(gdstk.Label('CL2#C', (0.32,1.12), layer=11, texttype=0))
complex16.add(gdstk.Label('CL2#Y', (0.16,0.96), layer=11, texttype=0))
complex16.add(gdstk.Label('CL3#A', (2.56,1.28), layer=11, texttype=0))
complex16.add(gdstk.Label('CL3#C', (2.88,1.12), layer=11, texttype=0))
complex16.add(gdstk.Label('CL3#Y', (2.72,1.12), layer=11, texttype=0))

lib.write_gds('COMPLEX16.gds')
